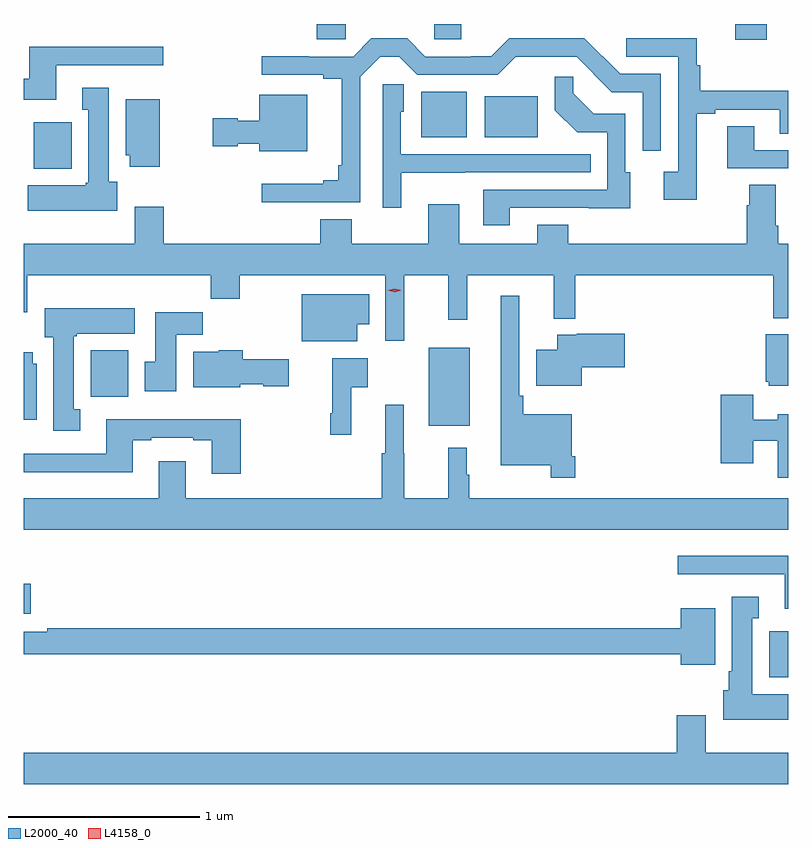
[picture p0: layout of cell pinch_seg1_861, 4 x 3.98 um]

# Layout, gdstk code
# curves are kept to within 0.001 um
import gdstk
lib = gdstk.Library(unit=1e-6, precision=1e-09)
def R(c, l, rs):  # rectangles x0, y0, x1, y1
    for r in rs: c.add(gdstk.rectangle(r[:2], r[2:], *l))
def P(c, l, *ps):  # polygons
    for p in ps: c.add(gdstk.Polygon(p, *l))
L2000_40 = (2000, 40)
L4158_0 = (4158, 0)

pinch_seg1_861 = lib.new_cell('pinch_seg1_861')
R(pinch_seg1_861, L2000_40, [(629.12,534.974,629.219,535.216), (625.219,535.307,625.255,535.465), (627.338,536.291,627.553,536.701), (625.568,536.444,625.765,536.686), (625.271,537.638,625.468,537.88), (627.299,537.803,627.538,538.039), (627.632,537.803,627.91,538.018), (628.943,538.313,629.107,538.395), (626.753,538.314,626.904,538.395), (627.366,538.314,627.508,538.395)])
P(pinch_seg1_861, L2000_40, [(628.741,537.925),(628.837,537.925),(628.837,537.945),(629.177,537.945),(629.177,537.82),(629.219,537.82),(629.219,538.046),(628.76,538.046),(628.76,538.178),(628.742,538.178),(628.742,538.32),(628.371,538.32),(628.371,538.224),(628.644,538.224),(628.644,537.622),(628.569,537.622),(628.569,537.474),(628.741,537.474)],
  [(626.675,537.462),(626.979,537.462),(626.979,538.119),(627.083,538.223),(627.184,538.223),(627.279,538.128),(627.699,538.128),(627.794,538.223),(628.113,538.224),(628.203,538.134),(628.201,538.132),(628.295,538.038),(628.458,538.038),(628.458,537.732),(628.554,537.732),(628.554,538.134),(628.341,538.134),(628.153,538.32),(627.759,538.32),(627.665,538.226),(627.56,538.226),(627.56,538.224),(627.321,538.224),(627.225,538.32),(627.038,538.32),(626.942,538.224),(626.709,538.224),(626.709,538.226),(626.463,538.226),(626.463,538.128),(626.786,538.128),(626.786,538.108),(626.882,538.108),(626.882,537.655),(626.863,537.655),(626.863,537.578),(626.786,537.578),(626.786,537.559),(626.463,537.559),(626.463,537.461)],
  [(625.387,538.179),(625.948,538.179),(625.948,538.276),(625.247,538.276),(625.247,538.108),(625.219,538.108),(625.219,537.999),(625.387,537.999)],
  [(627.763,537.432),(628.393,537.431),(628.393,537.618),(628.368,537.618),(628.368,537.924),(628.202,537.924),(628.094,538.032),(628.094,538.12),(627.999,538.12),(627.999,537.944),(628.115,537.828),(628.272,537.828),(628.272,537.528),(627.623,537.528),(627.623,537.342),(627.763,537.342)],
  [(627.193,537.617),(627.527,537.617),(627.527,537.618),(628.187,537.618),(628.187,537.714),(627.192,537.714),(627.192,537.936),(627.208,537.936),(627.208,538.079),(627.096,538.079),(627.096,537.432),(627.193,537.432)],
  [(625.708,537.57),(625.663,537.57),(625.663,538.06),(625.523,538.06),(625.523,537.947),(625.556,537.947),(625.556,537.564),(625.543,537.564),(625.543,537.55),(625.239,537.55),(625.239,537.416),(625.708,537.416)],
  [(626.701,538.024),(626.45,538.024),(626.45,537.889),(626.337,537.889),(626.337,537.902),(626.208,537.902),(626.208,537.755),(626.337,537.755),(626.337,537.767),(626.45,537.767),(626.45,537.728),(626.701,537.728)],
  [(625.93,538),(625.751,538),(625.751,537.708),(625.772,537.708),(625.772,537.648),(625.93,537.648)],
  [(629.219,537.735),(629.041,537.735),(629.041,537.86),(628.901,537.86),(628.901,537.639),(629.219,537.639)],
  [(628.104,537.08),(629.143,537.08),(629.143,536.855),(629.219,536.855),(629.219,537.244),(629.168,537.244),(629.168,537.34),(629.155,537.34),(629.155,537.554),(629.015,537.554),(629.015,537.446),(629.003,537.446),(629.003,537.244),(628.069,537.244),(628.069,537.343),(627.905,537.343),(627.905,537.244),(627.499,537.244),(627.499,537.451),(627.335,537.451),(627.335,537.244),(626.935,537.244),(626.935,537.373),(626.771,537.373),(626.771,537.244),(625.952,537.244),(625.952,537.439),(625.799,537.439),(625.799,537.244),(625.219,537.244),(625.219,536.886),(625.237,536.886),(625.237,537.08),(626.197,537.08),(626.197,536.956),(626.349,536.956),(626.349,537.08),(627.111,537.08),(627.111,536.736),(627.21,536.736),(627.21,537.08),(627.439,537.08),(627.439,536.847),(627.539,536.847),(627.539,537.08),(627.992,537.08),(627.992,536.852),(628.104,536.852)],
  [(626.965,536.822),(627.026,536.822),(627.026,536.98),(626.672,536.98),(626.672,536.735),(626.965,536.735)],
  [(628.106,536.131),(628.086,536.131),(628.086,536.353),(627.833,536.353),(627.833,536.449),(627.813,536.449),(627.813,536.971),(627.716,536.971),(627.716,536.084),(627.978,536.084),(627.978,536.019),(628.106,536.019)],
  [(625.513,536.378),(625.48,536.378),(625.48,536.761),(625.494,536.761),(625.494,536.774),(625.798,536.774),(625.798,536.908),(625.328,536.908),(625.328,536.754),(625.373,536.754),(625.373,536.265),(625.513,536.265)],
  [(626.017,536.768),(626.156,536.768),(626.156,536.887),(625.907,536.887),(625.907,536.628),(625.85,536.628),(625.85,536.472),(626.017,536.472)],
  [(628.138,536.597),(628.363,536.597),(628.363,536.772),(628.114,536.772),(628.114,536.767),(628.01,536.767),(628.01,536.689),(627.902,536.689),(627.902,536.501),(628.138,536.501)],
  [(629.219,536.77),(629.102,536.77),(629.102,536.523),(629.118,536.523),(629.118,536.501),(629.219,536.501)],
  [(626.352,536.51),(626.472,536.51),(626.472,536.498),(626.605,536.498),(626.605,536.64),(626.364,536.64),(626.364,536.686),(626.238,536.686),(626.238,536.68),(626.105,536.68),(626.105,536.492),(626.352,536.492)],
  [(625.285,536.616),(625.264,536.616),(625.264,536.677),(625.219,536.677),(625.219,536.324),(625.285,536.324)],
  [(626.933,536.492),(627.019,536.492),(627.019,536.644),(626.833,536.644),(626.833,536.356),(626.823,536.356),(626.823,536.244),(626.933,536.244)],
  [(629.219,536.353),(629.165,536.353),(629.165,536.323),(629.038,536.323),(629.038,536.455),(628.868,536.455),(628.868,536.094),(629.038,536.094),(629.038,536.214),(629.166,536.214),(629.166,536.019),(629.219,536.019)],
  [(629.219,535.912),(627.55,535.912),(627.55,536.036),(627.538,536.036),(627.538,536.176),(627.439,536.176),(627.439,535.912),(627.21,535.912),(627.21,536.148),(627.208,536.148),(627.208,536.401),(627.11,536.401),(627.11,536.148),(627.091,536.148),(627.091,535.912),(626.065,535.912),(626.065,536.107),(625.925,536.107),(625.925,535.912),(625.219,535.912),(625.219,535.748),(629.219,535.748)],
  [(626.354,536.326),(625.649,536.326),(625.649,536.145),(625.219,536.145),(625.219,536.048),(625.789,536.048),(625.789,536.217),(625.885,536.217),(625.885,536.229),(626.105,536.229),(626.105,536.217),(626.201,536.217),(626.201,536.04),(626.354,536.04)],
  [(629.219,535.612),(628.641,535.612),(628.641,535.515),(629.201,535.515),(629.201,535.334),(629.219,535.334)],
  [(629.219,534.886),(629.032,534.886),(629.032,535.283),(629.065,535.283),(629.065,535.396),(628.925,535.396),(628.925,535.006),(628.91,535.006),(628.91,534.906),(628.88,534.906),(628.88,534.752),(629.219,534.752)],
  [(628.837,535.336),(628.658,535.336),(628.658,535.232),(625.342,535.232),(625.342,535.212),(625.219,535.212),(625.219,535.096),(628.658,535.096),(628.658,535.04),(628.837,535.04)],
  [(629.219,534.58),(628.789,534.58),(628.789,534.775),(628.637,534.775),(628.637,534.58),(625.219,534.58),(625.219,534.416),(629.219,534.416)])
P(pinch_seg1_861, L4158_0, [(627.159,536.99),(627.123,537),(627.123,537),(627.123,537),(627.159,537.01),(627.195,537),(627.195,537),(627.195,537)])

lib.write_gds('pinch_seg1_861.gds')
